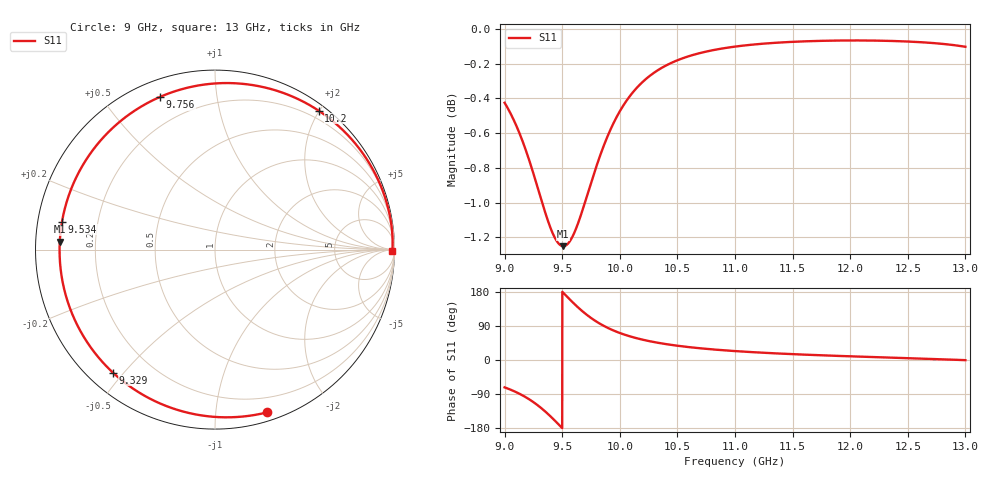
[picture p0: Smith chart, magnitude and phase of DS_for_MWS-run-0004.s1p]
! TOUCHSTONE file generated by CST DESIGN STUDIO
! Date and time: Tue Feb  4 16:07:14 2025
! Project name: C:\Work\MatlabApps\UnitCellOptimizationMatlab\CST\unitcell.cst
! Tree item: Tasks\Sweep1\SPara1\S-Parameters
! Header version: 2024
! Port assignment regex: !\s*Touchstone port\s*([0-9]+)\s*=\s*(CST MWS port|CST DES external port|CST DES block port)\s*(.+)\s* \(\"(.*)\"\)(\s*mode\s*([0-9]+))?.*
! Touchstone port assignment:
! Touchstone port 1 = CST DES external port 1 ("")
# GHz S MA R 50
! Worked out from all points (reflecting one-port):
!   4001 points, 9 GHz to 13 GHz, reference 50 ohm
!   lowest |S11| = -1.2 dB at 9.51 GHz (marker M1), VSWR 13.92, Z = 3.59 + j1.25 ohm
!   phase of S11 starts at -72 deg and turns -288 deg over the sweep
!   S11 on the Smith chart (normalised r, x): 9 GHz: 0.07, -1.37; 9.329 GHz: 0.07, -0.47; 9.534 GHz: 0.07, +0.09; 9.756 GHz: 0.08, +0.70; 10.2 GHz: 0.09, +1.99; 13 GHz: open
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9  0.9522 -72.2
9.087  0.9402 -83.0
9.19  0.9216 -99.3
9.262  0.9059 -113.8
9.329  0.8906 -129.7
9.374  0.8811 -141.7
9.422  0.8727 -155.7
9.462  0.868 -167.9
9.5  0.8661 -179.7
9.51  0.866 177.1
9.534  0.8665 169.6
9.588  0.8713 153.1
9.649  0.8814 135.7
9.702  0.8924 122.0
9.756  0.9043 109.7
9.806  0.9149 99.7
9.861  0.9256 90.1
10  0.9468 71.3
10.096  0.9572 61.7
10.203  0.9658 53.3
10.34  0.9734 45.0
10.5  0.9794 37.7
10.722  0.9845 30.2
11  0.9883 23.6
11.5  0.9914 15.5
12  0.9923 9.7
12.5  0.9916 4.8
13  0.9882 -0.4
